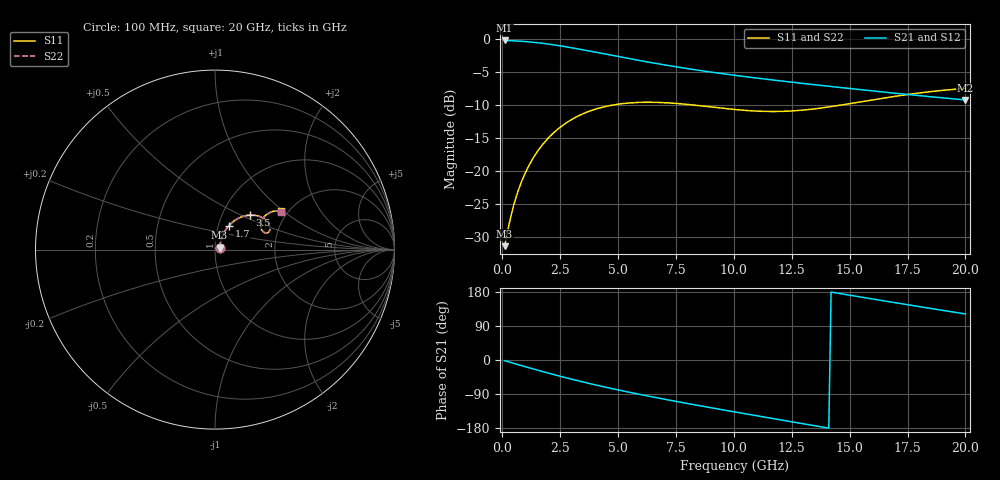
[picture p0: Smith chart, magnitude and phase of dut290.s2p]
! Touchstone file exported from HFSS 2024.1.0
!  File:  C:/UserFiles/LocalFiles/RDL_TSV_Batchsim/temp_RDL_TSV_290_1779467212.aedt
!  Generated:  12:41:35 AM May 23, 2026
!  Design:  RDL_TSV
!  Project:  temp_RDL_TSV_290_1779467212
!  Setup:  Setup1
!  Solution:  Sweep
! Variables:
!  dtsv = 5.62um
!  hbump = 3um
!  htsv = 50.93um
!  ldown = 485.89um
!  lrdl = 592.37um
!  p = 40
!  p1 = 42.8um
!  rhole = 10um
!  subl = 3827.15um
!  t = 450um
!  tdown = 4.18um
!  trdl = 4.02um
!  viad = 10um
!  wdown = 29.67um
!  wrdl = 10.49um
!  xbump = 18um
# GHz S MA R 50.000000
! Terminal data exported
! Port[1] = TM1_1_T1
! Port[2] = TM1_4_T1
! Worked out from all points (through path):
!   200 points, 100 MHz to 20 GHz, reference 50 ohm
!   highest |S21| = -0.22 dB at 100 MHz (marker M1); lowest = -9.2 dB at 20 GHz (marker M2)
!   group delay of S21, straight-line fit = 31.8 ps
!   lowest |S11| = -31.4 dB at 100 MHz (marker M3), VSWR 1.06, Z = 52.6 + j1.05 ohm
!   |S11| at or under -10 dB: start of sweep to 4.768 GHz; 8.267 GHz to 14.63 GHz (6.366 GHz wide, 55.6 % of centre)
!   |S22| runs from -31.4 to -7.5 dB; largest |S21 - S12| = 1.2e-14
!   S11 on the Smith chart (normalised r, x): 100 MHz: 1.05, +0.02; 1.7 GHz: 1.13, +0.31; 3.5 GHz: 1.35, +0.56; 20 GHz: 1.83, +0.95
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0.1  0.02701 21.7  0.9749 -1.9  0.9749 -1.9  0.02701 21.7
! Gamma 0 0 0 0
! Port Impedance 50 0 50 0
0.4  0.04769 50.8  0.9705 -7.3  0.9705 -7.3  0.04769 50.8
0.6  0.06383 57.2  0.9666 -10.8  0.9666 -10.8  0.06383 57.2
0.8  0.08053 60.2  0.962 -14.3  0.962 -14.3  0.08053 60.2
1.2  0.1144 61.6  0.9497 -21.3  0.9497 -21.3  0.1143 61.6
1.7  0.1555 59.6  0.9292 -29.8  0.9292 -29.8  0.1555 59.7
2.1  0.1863 56.9  0.9095 -36.5  0.9095 -36.5  0.1863 56.9
2.6  0.2213 52.7  0.8818 -44.5  0.8818 -44.5  0.2214 52.8
3  0.246 49.2  0.8581 -50.7  0.8581 -50.7  0.2461 49.3
3.5  0.2724 44.8  0.8274 -58.2  0.8274 -58.2  0.2725 44.9
4.2  0.3005 38.9  0.7843 -68.2  0.7843 -68.2  0.3007 39.0
4.9  0.319 33.5  0.7428 -77.7  0.7428 -77.7  0.3193 33.6
5.8  0.3305 27.6  0.6937 -89.1  0.6937 -89.1  0.3309 27.7
6.8  0.3307 22.5  0.6455 -101.1  0.6455 -101.1  0.3313 22.6
8.4  0.3145 18.1  0.5821 -119.3  0.5821 -119.3  0.3153 18.2
10.1  0.292 18.7  0.5293 -137.7  0.5293 -137.7  0.293 18.7
11.7  0.2825 23.4  0.4889 -154.7  0.4889 -154.7  0.2836 23.3
13.4  0.2947 29.6  0.4524 -172.5  0.4524 -172.5  0.2955 29.4
15  0.3239 33.4  0.4218 171.0  0.4218 171.0  0.3244 33.2
16.7  0.3625 34.2  0.3927 153.8  0.3927 153.8  0.3626 34.0
18.3  0.396 32.8  0.3683 138.0  0.3683 138.0  0.3958 32.6
20  0.4226 30.2  0.3458 121.5  0.3458 121.5  0.4221 30.0
